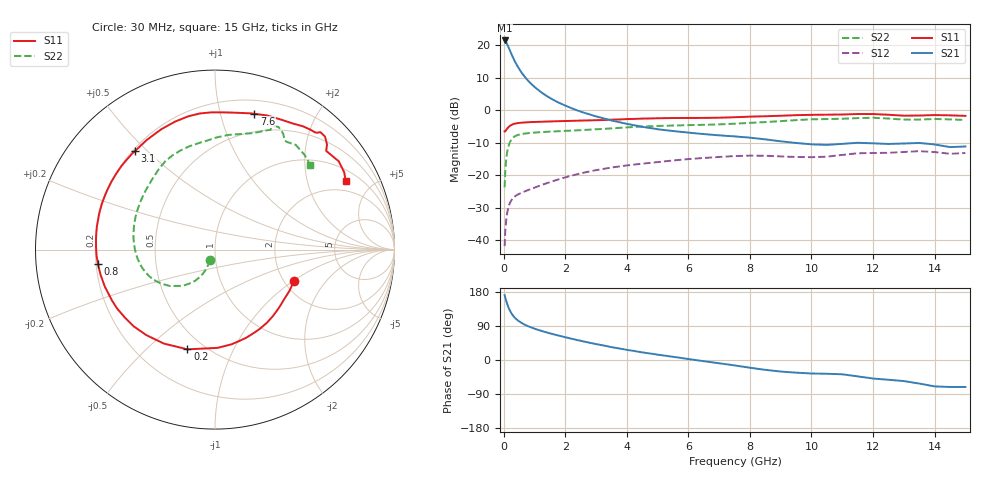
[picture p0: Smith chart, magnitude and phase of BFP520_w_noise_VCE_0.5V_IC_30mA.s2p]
! Infineon Technologies  Discrete & RF Semiconductors
! BFP520
! VCE =  0.5 V,  IC =  30 mA
! Common Emitter S-Parameters:  Oct 2015
# GHz  S  MA  R  50
!  f  S11  S21  S12  S22
! GHz  MAG  ANG  MAG  ANG  MAG  ANG  MAG  ANG
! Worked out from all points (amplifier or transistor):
!   109 points, 30 MHz to 15 GHz, reference 50 ohm
!   highest |S21| = 21.5 dB at 30 MHz (marker M1)
!   |S21| within 3 dB of that: start of sweep to 198.3 MHz
!   unconditionally stable (mu >= 1): start of sweep to end of sweep
!   at 450 MHz: K = 1.17, MAG = 17.3 dB, |S12| = -26.0 dB
!   at 4 GHz: K = 2.27, MAG = 0.1 dB, |S12| = -17.0 dB
!   at 15 GHz: K = 1.85, MAG = -4.3 dB, |S12| = -13.1 dB
!   lowest NFmin = 2.46 dB at 900 MHz
!   S11 on the Smith chart (normalised r, x): 30 MHz: 2.24, -1.02; 200 MHz: 0.41, -0.68; 800 MHz: 0.21, -0.06; 3.1 GHz: 0.21, +0.46; 7.6 GHz: 0.32, +1.28; 15 GHz: 1.46, +3.47
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0.03  0.4735 -22.0  11.94 171.2  0.0081 80.4  0.0651 -115.6
0.07  0.491 -48.8  11.35 159.3  0.0177 71.6  0.1523 -116.8
0.09  0.5074 -60.6  10.94 153.9  0.0219 67.4  0.1888 -120.7
0.11  0.5212 -70.6  10.5 148.8  0.0256 63.5  0.2214 -124.6
0.15  0.5477 -88.6  9.544 139.9  0.0318 56.7  0.2748 -132.7
0.2  0.5767 -105.5  8.42 130.8  0.0374 50.3  0.3231 -141.1
0.25  0.5961 -118.6  7.397 123.4  0.0413 45.6  0.3558 -147.9
0.3  0.611 -128.7  6.57 117.5  0.0445 42.2  0.3795 -153.5
0.35  0.6229 -136.6  5.868 112.6  0.0467 39.8  0.3953 -158.0
0.4  0.6293 -143.4  5.272 108.5  0.0486 38.0  0.4068 -161.9
0.5  0.6402 -153.6  4.379 102.1  0.0517 35.9  0.423 -168.0
0.6  0.6476 -161.4  3.709 96.9  0.0544 35.0  0.433 -172.8
0.8  0.6569 -172.8  2.842 89.0  0.0594 34.5  0.446 179.9
1.1  0.6654 175.1  2.107 80.0  0.0673 34.9  0.4588 171.8
1.5  0.6757 163.0  1.558 70.4  0.0785 34.9  0.4708 163.3
2.6  0.6989 138.2  0.924 48.8  0.1097 29.7  0.499 144.0
3.1  0.7076 129.0  0.786 40.5  0.1224 25.7  0.5142 136.2
5.1  0.7579 100.4  0.506 13.0  0.1615 9.2  0.5774 113.3
7.6  0.7875 73.9  0.394 -15.5  0.1984 -14.1  0.6274 88.2
10.5  0.8585 49.6  0.294 -36.3  0.1936 -32.8  0.735 65.1
13  0.8286 41.6  0.309 -55.6  0.2286 -52.5  0.7203 57.3
15  0.8229 27.8  0.278 -71.2  0.2203 -68.1  0.7109 41.7
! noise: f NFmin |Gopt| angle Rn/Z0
0.45  2.47  0.05  -117  0.28
0.9  2.46  0.06  -118  0.32
1.9  2.61  0.11  -111  0.3
2.4  2.62  0.13  -109  0.3
3.5  2.57  0.15  -102  0.33
